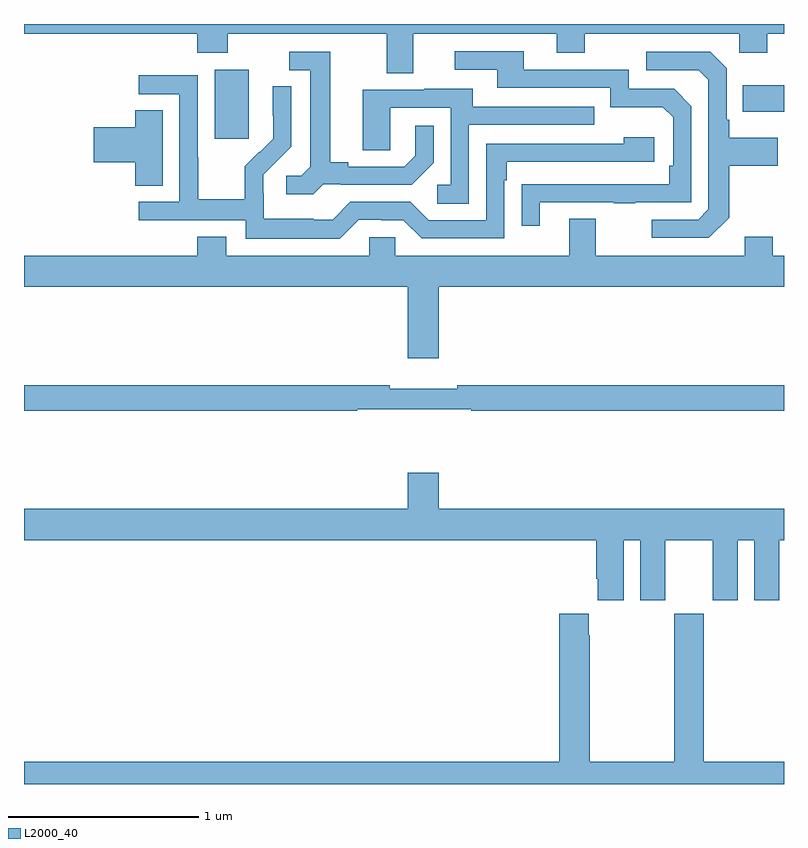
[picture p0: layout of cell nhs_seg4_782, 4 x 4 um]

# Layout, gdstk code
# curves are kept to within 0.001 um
import gdstk
lib = gdstk.Library(unit=1e-6, precision=1e-09)
def R(c, l, rs):  # rectangles x0, y0, x1, y1
    for r in rs: c.add(gdstk.rectangle(r[:2], r[2:], *l))
def P(c, l, *ps):  # polygons
    for p in ps: c.add(gdstk.Polygon(p, *l))
L2000_40 = (2000, 40)

nhs_seg4_782 = lib.new_cell('nhs_seg4_782')
R(nhs_seg4_782, L2000_40, [(152.003,768.297,152.182,768.658), (154.783,768.437,155,768.577)])
P(nhs_seg4_782, L2000_40, [(153.049,768.848),(153.803,768.848),(153.803,768.749),(153.951,768.749),(153.951,768.848),(154.764,768.848),(154.764,768.749),(154.911,768.749),(154.911,768.848),(155,768.848),(155,768.9),(151,768.9),(151,768.848),(151.913,768.848),(151.913,768.749),(152.073,768.749),(152.073,768.848),(152.909,768.848),(152.909,768.64),(153.049,768.64)],
  [(153.715,767.961),(154.105,767.961),(154.105,767.956),(154.217,767.956),(154.217,767.961),(154.512,767.961),(154.512,768.468),(154.422,768.558),(154.182,768.558),(154.182,768.66),(153.631,768.66),(153.631,768.756),(153.267,768.756),(153.267,768.66),(153.491,768.66),(153.491,768.564),(154.086,768.564),(154.086,768.461),(154.363,768.461),(154.416,768.408),(154.416,768.154),(154.396,768.154),(154.396,768.057),(153.619,768.056),(153.619,767.838),(153.715,767.838)],
  [(154.711,767.881),(154.711,768.154),(154.967,768.154),(154.967,768.301),(154.711,768.301),(154.711,768.397),(154.698,768.397),(154.698,768.666),(154.611,768.753),(154.275,768.753),(154.275,768.657),(154.551,768.657),(154.602,768.606),(154.602,767.925),(154.548,767.871),(154.305,767.871),(154.305,767.775),(154.605,767.775)],
  [(152.574,768.057),(152.668,768.057),(152.668,768.054),(153.04,768.054),(153.156,768.17),(153.156,768.364),(153.059,768.364),(153.059,768.207),(153.002,768.15),(152.707,768.15),(152.707,768.173),(152.611,768.173),(152.611,768.753),(152.397,768.753),(152.397,768.657),(152.507,768.657),(152.507,768.149),(152.46,768.102),(152.379,768.102),(152.379,768.005),(152.522,768.005)],
  [(152.763,767.871),(152.879,767.871),(152.879,767.868),(152.997,767.868),(153.093,767.772),(153.528,767.772),(153.528,768.077),(153.541,768.077),(153.541,768.174),(154.318,768.174),(154.318,768.304),(154.157,768.304),(154.157,768.27),(153.432,768.27),(153.432,767.868),(153.129,767.868),(153.033,767.964),(152.718,767.964),(152.625,767.871),(152.525,767.871),(152.525,767.875),(152.262,767.875),(152.262,768.009),(152.26,768.009),(152.26,768.106),(152.406,768.254),(152.406,768.572),(152.31,768.572),(152.31,768.418),(152.312,768.418),(152.312,768.296),(152.241,768.225),(152.238,768.228),(152.161,768.151),(152.161,767.977),(151.917,767.977),(151.917,768.2),(151.914,768.2),(151.914,768.63),(151.605,768.63),(151.605,768.531),(151.818,768.531),(151.818,767.964),(151.605,767.964),(151.605,767.868),(152.166,767.868),(152.166,767.771),(152.663,767.771)],
  [(153.342,768.369),(154.001,768.369),(154.001,768.465),(153.361,768.465),(153.361,768.559),(153.107,768.559),(153.107,768.555),(152.783,768.555),(152.783,768.235),(152.928,768.235),(152.928,768.459),(153.246,768.459),(153.246,768.054),(153.174,768.054),(153.174,767.953),(153.342,767.953)],
  [(151.729,768.446),(151.586,768.446),(151.586,768.356),(151.368,768.356),(151.368,768.173),(151.586,768.173),(151.586,768.049),(151.729,768.049)],
  [(153.184,767.516),(155,767.516),(155,767.68),(154.941,767.68),(154.941,767.779),(154.793,767.779),(154.793,767.68),(154.009,767.68),(154.009,767.875),(153.869,767.875),(153.869,767.68),(152.955,767.68),(152.955,767.778),(152.817,767.778),(152.817,767.68),(152.065,767.68),(152.065,767.779),(151.913,767.779),(151.913,767.68),(151,767.68),(151,767.516),(153.02,767.516),(153.02,767.142),(153.184,767.142)],
  [(152.755,766.872),(153.355,766.872),(153.355,766.864),(155,766.864),(155,767),(153.28,767),(153.28,766.981),(152.924,766.981),(152.924,767),(151,767),(151,766.864),(152.755,766.864)],
  [(154.156,766.184),(154.244,766.184),(154.244,765.867),(154.375,765.867),(154.375,766.184),(154.625,766.184),(154.625,765.867),(154.756,765.867),(154.756,766.184),(154.844,766.184),(154.844,765.867),(154.975,765.867),(154.975,766.184),(155,766.184),(155,766.348),(153.184,766.348),(153.184,766.537),(153.02,766.537),(153.02,766.348),(151,766.348),(151,766.184),(154.013,766.184),(154.013,765.979),(154.019,765.979),(154.019,765.867),(154.156,765.867)],
  [(151,764.9),(155,764.9),(155,765.016),(154.578,765.016),(154.578,765.796),(154.423,765.796),(154.423,765.016),(153.978,765.016),(153.978,765.683),(153.973,765.683),(153.973,765.796),(153.818,765.796),(153.818,765.016),(151,765.016)])

lib.write_gds('nhs_seg4_782.gds')
